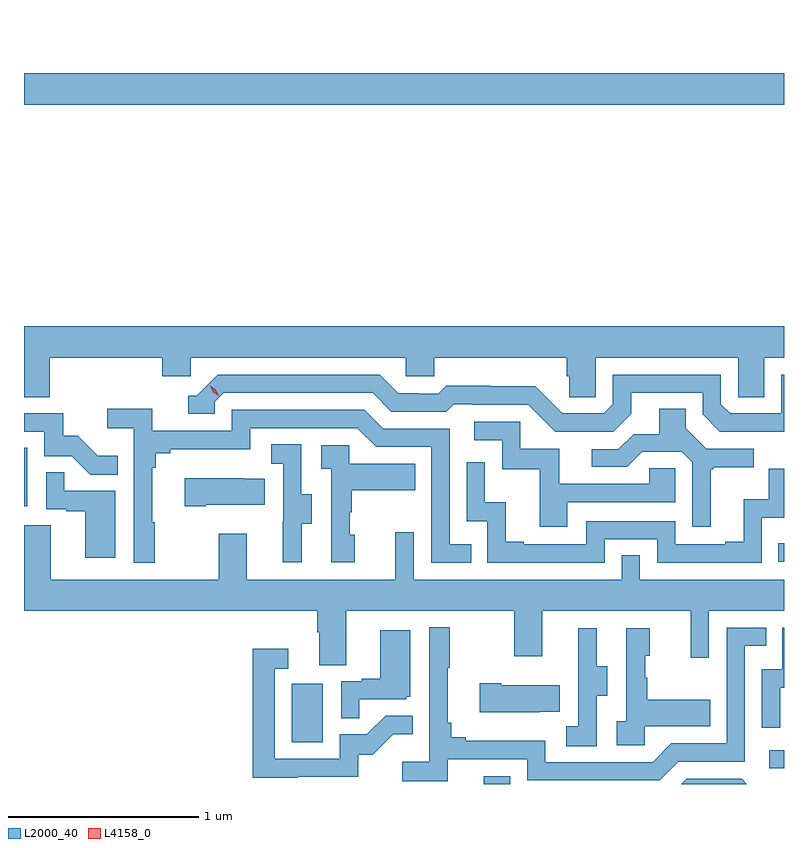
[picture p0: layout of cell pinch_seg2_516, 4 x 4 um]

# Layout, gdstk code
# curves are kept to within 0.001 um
import gdstk
lib = gdstk.Library(unit=1e-6, precision=1e-09)
def R(c, l, rs):  # rectangles x0, y0, x1, y1
    for r in rs: c.add(gdstk.rectangle(r[:2], r[2:], *l))
def P(c, l, *ps):  # polygons
    for p in ps: c.add(gdstk.Polygon(p, *l))
L2000_40 = (2000, 40)
L4158_0 = (4158, 0)

pinch_seg2_516 = lib.new_cell('pinch_seg2_516')
R(pinch_seg2_516, L2000_40, [(1011.263,592.112,1011.402,592.152), (1012.767,592.194,1012.844,592.29), (1010.252,592.332,1010.416,592.639), (1012.813,593.283,1012.844,593.38), (1008.844,593.574,1008.862,593.881), (1008.844,595.688,1012.844,595.852), (1012.488,596.111,1012.844,596.112)])
P(pinch_seg2_516, L2000_40, [(1008.98,594.356),(1009.571,594.356),(1009.571,594.258),(1009.722,594.258),(1009.722,594.356),(1010.853,594.356),(1010.853,594.258),(1011.003,594.258),(1011.003,594.356),(1011.701,594.356),(1011.701,594.258),(1011.715,594.258),(1011.715,594.148),(1011.852,594.148),(1011.852,594.356),(1012.602,594.356),(1012.602,594.148),(1012.741,594.148),(1012.741,594.356),(1012.844,594.356),(1012.844,594.52),(1008.844,594.52),(1008.844,594.148),(1008.98,594.148)],
  [(1012.844,594.267),(1012.83,594.267),(1012.83,594.063),(1012.56,594.063),(1012.512,594.111),(1012.512,594.267),(1011.942,594.267),(1011.942,594.111),(1011.894,594.063),(1011.678,594.063),(1011.536,594.205),(1011.3,594.205),(1011.3,594.208),(1011.067,594.208),(1011.025,594.165),(1010.922,594.165),(1010.922,594.168),(1010.815,594.168),(1010.716,594.267),(1009.863,594.267),(1009.752,594.156),(1009.709,594.156),(1009.709,594.06),(1009.848,594.06),(1009.848,594.123),(1009.896,594.171),(1010.679,594.171),(1010.778,594.072),(1011.067,594.072),(1011.106,594.111),(1011.205,594.111),(1011.205,594.108),(1011.498,594.108),(1011.639,593.967),(1011.945,593.967),(1012.039,594.061),(1012.039,594.171),(1012.416,594.171),(1012.416,594.057),(1012.506,593.967),(1012.844,593.966)],
  [(1009.531,593.489),(1009.519,593.489),(1009.519,593.777),(1009.538,593.777),(1009.538,593.854),(1009.615,593.854),(1009.615,593.873),(1010.034,593.873),(1010.034,593.985),(1010.598,593.985),(1010.697,593.886),(1010.988,593.886),(1010.988,593.277),(1011.197,593.277),(1011.197,593.373),(1011.084,593.373),(1011.084,593.982),(1010.734,593.982),(1010.635,594.081),(1009.938,594.081),(1009.938,593.97),(1009.52,593.97),(1009.52,594.086),(1009.281,594.086),(1009.281,593.984),(1009.422,593.984),(1009.422,593.277),(1009.531,593.277)],
  [(1012.459,593.769),(1012.471,593.769),(1012.471,593.78),(1012.684,593.78),(1012.684,593.877),(1012.434,593.877),(1012.327,593.984),(1012.327,594.086),(1012.187,594.086),(1012.187,593.954),(1012.052,593.954),(1011.972,593.874),(1011.831,593.874),(1011.831,593.781),(1012.018,593.781),(1012.099,593.862),(1012.305,593.862),(1012.362,593.805),(1012.362,593.466),(1012.459,593.466)],
  [(1009.337,593.839),(1009.233,593.839),(1009.126,593.946),(1009.05,593.946),(1009.05,594.063),(1008.844,594.063),(1008.844,593.967),(1008.951,593.967),(1008.951,593.838),(1009.095,593.838),(1009.193,593.74),(1009.337,593.74)],
  [(1011.703,593.595),(1012.272,593.595),(1012.272,593.775),(1012.135,593.775),(1012.135,593.691),(1011.661,593.691),(1011.661,593.877),(1011.456,593.877),(1011.456,594.018),(1011.213,594.018),(1011.213,593.922),(1011.36,593.922),(1011.36,593.769),(1011.559,593.769),(1011.559,593.466),(1011.703,593.466)],
  [(1010.305,593.482),(1010.359,593.482),(1010.359,593.637),(1010.304,593.637),(1010.304,593.9),(1010.145,593.9),(1010.145,593.797),(1010.208,593.797),(1010.208,593.493),(1010.207,593.493),(1010.207,593.28),(1010.305,593.28)],
  [(1010.584,593.424),(1010.559,593.424),(1010.559,593.543),(1010.569,593.543),(1010.569,593.657),(1010.903,593.657),(1010.903,593.797),(1010.556,593.797),(1010.556,593.895),(1010.409,593.895),(1010.409,593.771),(1010.46,593.771),(1010.46,593.28),(1010.584,593.28)],
  [(1011.9,593.4),(1012.176,593.4),(1012.176,593.277),(1012.728,593.277),(1012.728,593.513),(1012.844,593.513),(1012.844,593.772),(1012.764,593.772),(1012.764,593.611),(1012.631,593.611),(1012.631,593.386),(1012.535,593.386),(1012.535,593.373),(1012.272,593.373),(1012.272,593.496),(1011.804,593.496),(1011.804,593.373),(1011.475,593.373),(1011.475,593.386),(1011.38,593.386),(1011.38,593.594),(1011.27,593.594),(1011.27,593.806),(1011.174,593.806),(1011.174,593.496),(1011.282,593.496),(1011.282,593.277),(1011.9,593.277)],
  [(1009.324,593.655),(1009.055,593.655),(1009.055,593.753),(1008.96,593.753),(1008.96,593.559),(1009.067,593.559),(1009.067,593.547),(1009.166,593.547),(1009.166,593.304),(1009.324,593.304)],
  [(1009.801,593.582),(1010.111,593.582),(1010.111,593.719),(1010.003,593.719),(1010.003,593.722),(1009.689,593.722),(1009.689,593.575),(1009.801,593.575)],
  [(1010.539,593.024),(1011.424,593.024),(1011.424,592.785),(1011.571,592.785),(1011.571,593.024),(1012.352,593.024),(1012.352,592.776),(1012.449,592.776),(1012.449,593.024),(1012.844,593.024),(1012.844,593.188),(1012.086,593.188),(1012.086,593.315),(1011.99,593.315),(1011.99,593.188),(1010.895,593.188),(1010.895,593.437),(1010.798,593.437),(1010.798,593.188),(1010.017,593.188),(1010.017,593.428),(1009.87,593.428),(1009.87,593.188),(1008.985,593.188),(1008.985,593.474),(1008.845,593.474),(1008.845,593.3),(1008.844,593.3),(1008.844,593.024),(1010.387,593.024),(1010.387,592.912),(1010.399,592.912),(1010.399,592.738),(1010.539,592.738)],
  [(1011.074,592.242),(1011.492,592.242),(1011.492,592.131),(1012.189,592.131),(1012.288,592.23),(1012.638,592.23),(1012.638,592.839),(1012.751,592.839),(1012.751,592.935),(1012.542,592.935),(1012.542,592.326),(1012.251,592.326),(1012.152,592.227),(1011.588,592.227),(1011.588,592.339),(1011.169,592.339),(1011.169,592.358),(1011.092,592.358),(1011.092,592.435),(1011.073,592.435),(1011.073,592.723),(1011.085,592.723),(1011.085,592.936),(1010.976,592.936),(1010.976,592.228),(1010.835,592.228),(1010.835,592.126),(1011.074,592.126)],
  [(1012.824,592.619),(1012.844,592.619),(1012.844,592.935),(1012.836,592.935),(1012.836,592.716),(1012.728,592.716),(1012.728,592.407),(1012.824,592.407)],
  [(1011.858,592.576),(1011.913,592.576),(1011.913,592.731),(1011.859,592.731),(1011.859,592.933),(1011.761,592.933),(1011.761,592.719),(1011.762,592.719),(1011.762,592.415),(1011.699,592.415),(1011.699,592.312),(1011.858,592.312)],
  [(1012.11,592.415),(1012.457,592.415),(1012.457,592.555),(1012.123,592.555),(1012.123,592.67),(1012.113,592.67),(1012.113,592.788),(1012.138,592.788),(1012.138,592.933),(1012.014,592.933),(1012.014,592.442),(1011.963,592.442),(1011.963,592.317),(1012.11,592.317)],
  [(1010.609,592.557),(1010.856,592.557),(1010.856,592.572),(1010.878,592.572),(1010.878,592.921),(1010.72,592.921),(1010.72,592.666),(1010.621,592.666),(1010.621,592.653),(1010.514,592.653),(1010.514,592.459),(1010.609,592.459)],
  [(1010.285,592.149),(1010.604,592.149),(1010.604,592.266),(1010.68,592.266),(1010.787,592.373),(1010.891,592.373),(1010.891,592.472),(1010.747,592.472),(1010.649,592.374),(1010.505,592.374),(1010.505,592.245),(1010.163,592.245),(1010.163,592.719),(1010.236,592.719),(1010.236,592.825),(1010.047,592.825),(1010.047,592.144),(1010.285,592.144)],
  [(1011.557,592.493),(1011.665,592.493),(1011.665,592.633),(1011.355,592.633),(1011.355,592.641),(1011.243,592.641),(1011.243,592.49),(1011.557,592.49)],
  [(1012.621,592.14),(1012.332,592.14),(1012.304,592.112),(1012.649,592.112)])
P(pinch_seg2_516, L4158_0, [(1009.87,594.155),(1009.839,594.175),(1009.823,594.207),(1009.823,594.208),(1009.823,594.208),(1009.854,594.188),(1009.87,594.156),(1009.87,594.155)])

lib.write_gds('pinch_seg2_516.gds')
